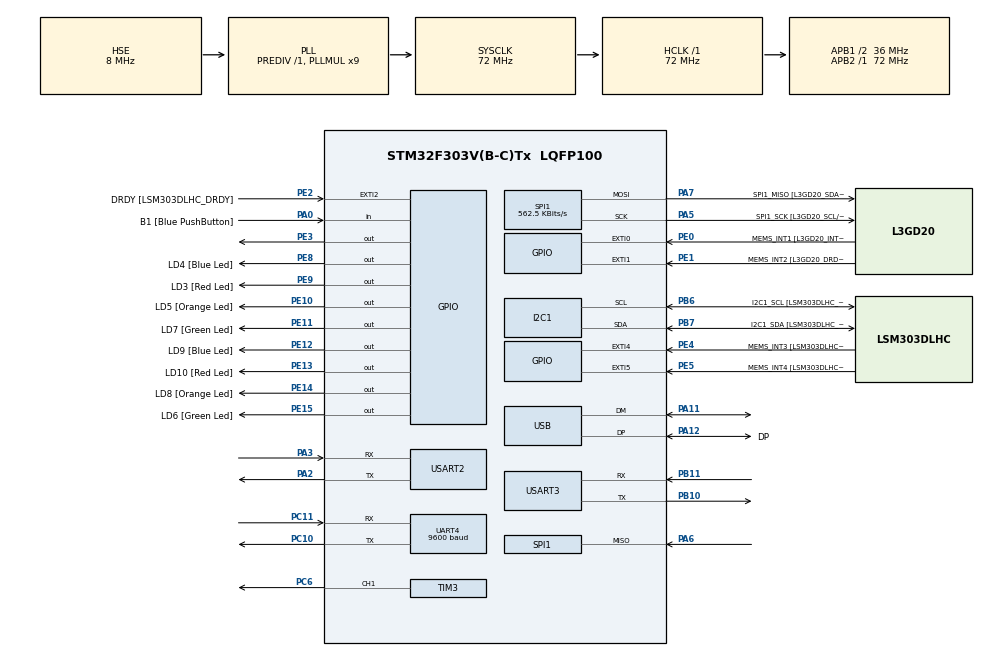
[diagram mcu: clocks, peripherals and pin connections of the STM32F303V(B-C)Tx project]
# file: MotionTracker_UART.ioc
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I2C1.Timing=0x00201D2B
I2C1.Timing-I2C=0x2000090E
Mcu.Family=STM32F3
Mcu.Name=STM32F303V(B-C)Tx
Mcu.Package=LQFP100
NVIC.PriorityGroup=NVIC_PRIORITYGROUP_0
NVIC.USART2_IRQn=true\:0\:0\:false\:false\:true\:true\:true\:true
NVIC.USB_LP_CAN_RX0_IRQn=true\:0\:0\:false\:false\:true\:true\:true\:true
PA0.GPIO_Label=B1 [Blue PushButton]
PA0.Signal=GPIO_Input
PA11.Mode=Device
PA11.Signal=USB_DM
PA12.GPIO_Label=DP
PA12.Mode=Device
PA12.Signal=USB_DP
PA13.GPIO_Label=SWDIO
PA13.Mode=Serial_Wire
PA13.Signal=SYS_JTMS-SWDIO
PA14.GPIO_Label=SWCLK
PA14.Mode=Serial_Wire
PA14.Signal=SYS_JTCK-SWCLK
PA2.Mode=Asynchronous
PA2.Signal=USART2_TX
PA3.Mode=Asynchronous
PA3.Signal=USART2_RX
PA5.GPIO_Label=SPI1_SCK [L3GD20_SCL/SPC]
PA5.Mode=Full_Duplex_Master
PA5.Signal=SPI1_SCK
PA6.Mode=Full_Duplex_Master
PA6.Signal=SPI1_MISO
PA7.GPIO_Label=SPI1_MISO [L3GD20_SDA/SDI/SDO]
PA7.Mode=Full_Duplex_Master
PA7.Signal=SPI1_MOSI
PB10.Mode=Asynchronous
PB10.Signal=USART3_TX
PB11.Mode=Asynchronous
PB11.Signal=USART3_RX
PB3.GPIO_Label=SWO
PB3.Signal=SYS_JTDO-TRACESWO
PB6.GPIO_Label=I2C1_SCL [LSM303DLHC_SCL]
PB6.GPIO_Pu=GPIO_PULLUP
PB6.Mode=I2C
PB6.Signal=I2C1_SCL
PB7.GPIO_Label=I2C1_SDA [LSM303DLHC_SDA]
PB7.GPIO_Pu=GPIO_PULLUP
PB7.Mode=I2C
PB7.Signal=I2C1_SDA
PC10.Mode=Asynchronous
PC10.Signal=UART4_TX
PC11.Mode=Asynchronous
PC11.Signal=UART4_RX
PC14-OSC32_IN.GPIO_Label=OSC32_IN
PC14-OSC32_IN.Signal=RCC_OSC32_IN
PC15-OSC32_OUT.GPIO_Label=OSC32_OUT
PC15-OSC32_OUT.Signal=RCC_OSC32_OUT
PC6.Signal=S_TIM3_CH1
PE0.GPIO_Label=MEMS_INT1 [L3GD20_INT1]
PE0.GPIO_ModeDefaultEXTI=GPIO_MODE_EVT_RISING
PE0.Signal=GPXTI0
PE1.GPIO_Label=MEMS_INT2 [L3GD20_DRDY/INT2]
PE1.GPIO_ModeDefaultEXTI=GPIO_MODE_EVT_RISING
PE1.Signal=GPXTI1
PE10.GPIO_Label=LD5 [Orange Led]
PE10.Signal=GPIO_Output
PE11.GPIO_Label=LD7 [Green Led]
PE11.Signal=GPIO_Output
PE12.GPIO_Label=LD9 [Blue Led]
PE12.Signal=GPIO_Output
PE13.GPIO_Label=LD10 [Red Led]
PE13.Signal=GPIO_Output
PE14.GPIO_Label=LD8 [Orange Led]
PE14.Signal=GPIO_Output
PE15.GPIO_Label=LD6 [Green Led]
PE15.Signal=GPIO_Output
PE2.GPIO_Label=DRDY [LSM303DLHC_DRDY]
PE2.GPIO_ModeDefaultEXTI=GPIO_MODE_EVT_RISING
PE2.Signal=GPXTI2
PE3.Signal=GPIO_Output
PE4.GPIO_Label=MEMS_INT3 [LSM303DLHC_INT1]
PE4.GPIO_ModeDefaultEXTI=GPIO_MODE_EVT_RISING
PE4.Signal=GPXTI4
PE5.GPIO_Label=MEMS_INT4 [LSM303DLHC_INT2]
PE5.GPIO_ModeDefaultEXTI=GPIO_MODE_EVT_RISING
PE5.Signal=GPXTI5
PE8.GPIO_Label=LD4 [Blue Led]
PE8.Signal=GPIO_Output
PE9.GPIO_Label=LD3 [Red Led]
PE9.Signal=GPIO_Output
PF0-OSC_IN.GPIO_Label=OSC_IN
PF0-OSC_IN.Mode=HSE-External-Clock-Source
PF0-OSC_IN.Signal=RCC_OSC_IN
PF1-OSC_OUT.GPIO_Label=OSC_OUT
PF1-OSC_OUT.Signal=RCC_OSC_OUT
ProjectManager.HeapSize=0x200
ProjectManager.StackSize=0x400
ProjectManager.TargetToolchain=STM32CubeIDE
RCC.AHBFreq_Value=72000000
RCC.APB1CLKDivider=RCC_HCLK_DIV2
RCC.APB1Freq_Value=36000000
RCC.APB1TimFreq_Value=72000000
RCC.APB2Freq_Value=72000000
RCC.APB2TimFreq_Value=72000000
RCC.CortexFreq_Value=72000000
RCC.HCLKFreq_Value=72000000
RCC.HSE_VALUE=8000000
RCC.HSI_VALUE=8000000
RCC.LSE_VALUE=32768
RCC.PLLMUL=RCC_PLL_MUL9
RCC.PRESCALERUSB=RCC_USBCLKSOURCE_PLL_DIV1_5
RCC.SYSCLKFreq_VALUE=72000000
RCC.SYSCLKSourceVirtual=RCC_SYSCLKSOURCE_PLLCLK
RCC.USBFreq_Value=48000000
SH.S_TIM3_CH1.0=TIM3_CH1,PWM Generation1 CH1
SPI1.BaudRatePrescaler=SPI_BAUDRATEPRESCALER_128
SPI1.CalculateBaudRate=562.5 KBits/s
SPI1.Direction=SPI_DIRECTION_2LINES
SPI1.Mode=SPI_MODE_MASTER
SPI1.VirtualType=VM_MASTER
TIM3.Channel-PWM\ Generation1\ CH1=TIM_CHANNEL_1
TIM3.Period=999
TIM3.Prescaler=71
UART4.BaudRate=9600
USART2.VirtualMode-Asynchronous=VM_ASYNC
USART3.VirtualMode-Asynchronous=VM_ASYNC
VP_TIM3_VS_ClockSourceINT.Mode=Internal
board=STM32F3DISCOVERY

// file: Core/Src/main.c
/* USER CODE BEGIN Header */
/**
  ******************************************************************************
  * @file           : main.c
  * @brief          : Gyroscope-Based Motor Control
  ******************************************************************************
  */
/* USER CODE END Header */
#include "main.h"

/* USER CODE BEGIN Includes */
#include "i2c.h"
#include "spi.h"
#include "tim.h"
#include "usart.h"
#include <stdio.h>
#include <string.h>
#include <math.h>
#include <stdlib.h>  // atoi() için
/* USER CODE END Includes */

extern I2C_HandleTypeDef hi2c1;
extern SPI_HandleTypeDef hspi1;
extern TIM_HandleTypeDef htim3;
extern UART_HandleTypeDef huart4;
extern UART_HandleTypeDef huart2;
extern UART_HandleTypeDef huart3;

PCD_HandleTypeDef hpcd_USB_FS;

void SystemClock_Config(void);
static void MX_GPIO_Init(void);
void MX_I2C1_Init(void);
static void MX_USB_PCD_Init(void);
void MX_USART2_UART_Init(void);
void MX_TIM3_Init(void);
void MX_SPI1_Init(void);
void MX_USART3_UART_Init(void);
void MX_UART4_Init(void);

/* USER CODE BEGIN 0 */

// ESP32 WiFi Functions

// Debug mesaj gönderme fonksiyonu
void SendDebugMessage(const char* msg)
{
    HAL_UART_Transmit(&huart2, (uint8_t*)msg, strlen(msg), HAL_MAX_DELAY);
}

/* USER CODE END 0 */

int main(void)
{

  /* MCU Configuration--------------------------------------------------------*/

  /* Reset of all peripherals, Initializes the Flash interface and the Systick. */
  HAL_Init();

  /* Configure the system clock */
  SystemClock_Config();

  /* Initialize all configured peripherals */
  MX_GPIO_Init();
  MX_I2C1_Init();
  MX_USB_PCD_Init();
  MX_USART2_UART_Init();
  MX_TIM3_Init();
  MX_SPI1_Init();
  MX_USART3_UART_Init();
  MX_UART4_Init();
  /* USER CODE BEGIN 2 */
  HAL_Delay(1000);

  // UART2 test (debug için)
  HAL_UART_Transmit(&huart2, (uint8_t*)"STM32 Started Successfully\r\n", 28, 1000);

  // ✅ TIM3 PWM BAŞLATMA - MOTOR İÇİN
  if (HAL_TIM_PWM_Start(&htim3, TIM_CHANNEL_1) != HAL_OK) {
    HAL_UART_Transmit(&huart2, (uint8_t*)"❌ TIM3 PWM Start FAILED!\r\n", 29, 1000);
  } else {
    HAL_UART_Transmit(&huart2, (uint8_t*)"✅ TIM3 PWM Started - Motor Ready\r\n", 37, 1000);
  }

  // UART4 test - ESP32'ye ilk sinyal gönder
  HAL_UART_Transmit(&huart4, (uint8_t*)"A", 1, 1000);
  HAL_Delay(100);
  HAL_UART_Transmit(&huart4, (uint8_t*)"B", 1, 1000);
  HAL_Delay(100);
  HAL_UART_Transmit(&huart4, (uint8_t*)"C", 1, 1000);
  HAL_Delay(100);

  HAL_UART_Transmit(&huart2, (uint8_t*)"UART4 Test Signals Sent (A,B,C)\r\n", 34, 1000);
  HAL_UART_Transmit(&huart2, (uint8_t*)"System Ready - UART4 @ 9600 baud!\r\n", 36, 1000);
  /* USER CODE END 2 */

  /* Infinite loop */
  while (1)
  {

    /* USER CODE BEGIN 3 */

    // DASHBOARD İÇİN GYROSCOPE SİMÜLASYONU
    static uint32_t counter = 0;
    static char delayed_status_check[100] = {0};  // STATUS komutunu geciktirmek için
    counter++;

    // LED'leri yanıp söndür (çalıştığını görmek için)
    if(counter % 5 == 0) {
        HAL_GPIO_TogglePin(LD4_GPIO_Port, LD4_Pin);  // Mavi LED (daha yavaş)
    }

    // Simüle edilmiş gyroscope verileri
    float gyro_x = 10.0f * sin(counter * 0.1f);     // -10 ile +10 arası sinüs
    float gyro_y = 5.0f * cos(counter * 0.15f);     // -5 ile +5 arası kosinus
    float gyro_z = 8.0f * sin(counter * 0.08f);     // -8 ile +8 arası sinüs

    // Motor hızını hesapla (otomatik mode için)
    float gyro_magnitude = sqrt(gyro_x*gyro_x + gyro_y*gyro_y + gyro_z*gyro_z);
    uint8_t auto_motor_speed = (uint8_t)(gyro_magnitude > 100.0f ? 100 : gyro_magnitude);

    // ESP32'ye JSON format gönder (ESP32 beklediği format)
    char json_data[200];

    // ESP32'den motor kontrol komutlarını dinle
    static char uart_rx_buffer[100];
    static uint8_t rx_index = 0;
    static uint8_t manual_motor_speed = 0;  // Manuel ayarlanan motor hızı
    static uint8_t use_manual_speed = 0;    // Manuel kontrol aktif mi?
    static uint8_t force_stop = 0;          // Zorla durdur (STOP butonu)

    if(__HAL_UART_GET_FLAG(&huart4, UART_FLAG_RXNE)) {
        uint8_t received_char;
        HAL_UART_Receive(&huart4, &received_char, 1, 1);

        if(received_char == '\n' || received_char == '\r') {
            uart_rx_buffer[rx_index] = '\0';

            // ESP32'den gelen komutları debug et
            if(strlen(uart_rx_buffer) > 0) {
                char debug_rx[120];
                sprintf(debug_rx, "RX from ESP32: '%s'\r\n", uart_rx_buffer);
                HAL_UART_Transmit(&huart2, (uint8_t*)debug_rx, strlen(debug_rx), 1000);
            }

            // "MOTOR_SET:75" formatındaki komutları parse et
            if(strncmp(uart_rx_buffer, "MOTOR_SET:", 10) == 0) {
                manual_motor_speed = atoi(&uart_rx_buffer[10]);
                if(manual_motor_speed > 100) manual_motor_speed = 100;  // Clamp

                // ✅ ÖZEL DURUM: STOP (0%) → ZORLA DURDUR
                if(manual_motor_speed == 0) {
                    use_manual_speed = 0;  // Manual mode KAPALI
                    force_stop = 1;        // Zorla durma aktif
                    HAL_GPIO_WritePin(LD3_GPIO_Port, LD3_Pin, GPIO_PIN_RESET);  // LED söndür
                    HAL_UART_Transmit(&huart2, (uint8_t*)"🛑 MOTOR STOPPED - FORCE STOP ACTIVE\r\n", 41, 1000);
                } else {
                    use_manual_speed = 1;  // Manuel mode aktif
                    force_stop = 0;        // Zorla durma kapalı
                    HAL_GPIO_WritePin(LD3_GPIO_Port, LD3_Pin, GPIO_PIN_SET);  // LED aç
                }

                // ✅ MOTOR PWM KONTROLÜ AKTİF
                uint32_t pulse = (manual_motor_speed * 999) / 100;  // TIM3 period = 999
                __HAL_TIM_SET_COMPARE(&htim3, TIM_CHANNEL_1, pulse);

                char ack_msg[100];
                sprintf(ack_msg, "✅ MOTOR: %d%% PWM=%lu (%s)\r\n",
                       manual_motor_speed, pulse,
                       (manual_motor_speed == 0) ? "FORCE STOP" : "MANUAL MODE");
                HAL_UART_Transmit(&huart2, (uint8_t*)ack_msg, strlen(ack_msg), 1000);

                // ESP32'ye ACK gönder
                sprintf(ack_msg, "ACK:MOTOR_SET:%d\n", manual_motor_speed);
                HAL_UART_Transmit(&huart4, (uint8_t*)ack_msg, strlen(ack_msg), 500);
            }
            else if(strcmp(uart_rx_buffer, "AUTO") == 0) {
                use_manual_speed = 0;
                force_stop = 0;  // Zorla durma iptal et
                HAL_UART_Transmit(&huart2, (uint8_t*)"✅ SWITCHED TO AUTO MODE (GYRO CONTROL)\r\n", 42, 1000);
                // LED'i söndür - otomatik mode
                HAL_GPIO_WritePin(LD3_GPIO_Port, LD3_Pin, GPIO_PIN_RESET);  // Kırmızı LED söndür
            }
            else if(strncmp(uart_rx_buffer, "ESP32_", 6) == 0) {
                // ESP32 test mesajlarını echo et
                char echo_msg[100];
                sprintf(echo_msg, "ECHO:%s\n", uart_rx_buffer);
                HAL_UART_Transmit(&huart4, (uint8_t*)echo_msg, strlen(echo_msg), 500);
            }
            else if(strcmp(uart_rx_buffer, "STATUS") == 0) {
                strcpy(delayed_status_check, "STATUS");  // Sonra işle
            }

            rx_index = 0;
        }
        else if(rx_index < sizeof(uart_rx_buffer) - 1) {
            uart_rx_buffer[rx_index++] = received_char;
        }
    }

    // Motor hızını belirle (manuel, otomatik veya zorla durma)
    uint8_t final_motor_speed;
    if(force_stop) {
        final_motor_speed = 0;  // Zorla durdur
    } else if(use_manual_speed) {
        final_motor_speed = manual_motor_speed;  // Manuel kontrol
    } else {
        final_motor_speed = auto_motor_speed;    // Otomatik kontrol
    }

    // ✅ PWM'i sürekli güncelle (hem auto hem manual için)
    uint32_t final_pulse = (final_motor_speed * 999) / 100;
    __HAL_TIM_SET_COMPARE(&htim3, TIM_CHANNEL_1, final_pulse);

    // STATUS komutunu burada işle (değişkenler hazır olduktan sonra)
    if(strlen(delayed_status_check) > 0 && strcmp(delayed_status_check, "STATUS") == 0) {
        char status_msg[120];
        sprintf(status_msg, "STATUS:Manual=%d,ForceStop=%d,ManualSpeed=%d,AutoSpeed=%d,FinalSpeed=%d\n",
               use_manual_speed, force_stop, manual_motor_speed, auto_motor_speed, final_motor_speed);
        HAL_UART_Transmit(&huart4, (uint8_t*)status_msg, strlen(status_msg), 500);
        delayed_status_check[0] = '\0';  // Clear
    }

    // BASİT STRING TEST (JSON karmaşık, önce basit test)
    sprintf(json_data, "MOTOR:%d,X:%.1f,Y:%.1f,Z:%.1f\n",
            final_motor_speed, gyro_x, gyro_y, gyro_z);
    HAL_UART_Transmit(&huart4, (uint8_t*)json_data, strlen(json_data), 500);

    // Debug mesajı UART2'ye (daha az frequent)
    if(counter % 20 == 0) {  // Her 2 saniyede bir
        char debug_msg[200];
        sprintf(debug_msg, "📊 FINAL:%d%% [%s] AUTO:%d MANUAL:%d STOP:%d | GYRO: X=%.1f Y=%.1f Z=%.1f\r\n",
                final_motor_speed,
                force_stop ? "FORCE_STOP" : (use_manual_speed ? "MANUAL" : "AUTO"),
                auto_motor_speed, manual_motor_speed, force_stop, gyro_x, gyro_y, gyro_z);
        HAL_UART_Transmit(&huart2, (uint8_t*)debug_msg, strlen(debug_msg), 1000);
    }

    HAL_Delay(1000);  // 1 saniyede bir

  }
  /* USER CODE END 3 */
}

void SystemClock_Config(void)
{
  RCC_OscInitTypeDef RCC_OscInitStruct = {0};
  RCC_ClkInitTypeDef RCC_ClkInitStruct = {0};
  RCC_PeriphCLKInitTypeDef PeriphClkInit = {0};

  /** Initializes the RCC Oscillators according to the specified parameters
  * in the RCC_OscInitTypeDef structure.
  */
  RCC_OscInitStruct.OscillatorType = RCC_OSCILLATORTYPE_HSI|RCC_OSCILLATORTYPE_HSE;
  RCC_OscInitStruct.HSEState = RCC_HSE_BYPASS;
  RCC_OscInitStruct.HSEPredivValue = RCC_HSE_PREDIV_DIV1;
  RCC_OscInitStruct.HSIState = RCC_HSI_ON;
  RCC_OscInitStruct.HSICalibrationValue = RCC_HSICALIBRATION_DEFAULT;
  RCC_OscInitStruct.PLL.PLLState = RCC_PLL_ON;
  RCC_OscInitStruct.PLL.PLLSource = RCC_PLLSOURCE_HSE;
  RCC_OscInitStruct.PLL.PLLMUL = RCC_PLL_MUL9;
  if (HAL_RCC_OscConfig(&RCC_OscInitStruct) != HAL_OK)
  {
    Error_Handler();
  }

  /** Initializes the CPU, AHB and APB buses clocks
  */
  RCC_ClkInitStruct.ClockType = RCC_CLOCKTYPE_HCLK|RCC_CLOCKTYPE_SYSCLK
                              |RCC_CLOCKTYPE_PCLK1|RCC_CLOCKTYPE_PCLK2;
  RCC_ClkInitStruct.SYSCLKSource = RCC_SYSCLKSOURCE_PLLCLK;
  RCC_ClkInitStruct.AHBCLKDivider = RCC_SYSCLK_DIV1;
  RCC_ClkInitStruct.APB1CLKDivider = RCC_HCLK_DIV2;
  RCC_ClkInitStruct.APB2CLKDivider = RCC_HCLK_DIV1;

  if (HAL_RCC_ClockConfig(&RCC_ClkInitStruct, FLASH_LATENCY_2) != HAL_OK)
  {
    Error_Handler();
  }
  PeriphClkInit.PeriphClockSelection = RCC_PERIPHCLK_USB|RCC_PERIPHCLK_USART2
                              |RCC_PERIPHCLK_USART3|RCC_PERIPHCLK_UART4
                              |RCC_PERIPHCLK_I2C1;
  PeriphClkInit.Usart2ClockSelection = RCC_USART2CLKSOURCE_PCLK1;
  PeriphClkInit.Usart3ClockSelection = RCC_USART3CLKSOURCE_PCLK1;
  PeriphClkInit.Uart4ClockSelection = RCC_UART4CLKSOURCE_PCLK1;
  PeriphClkInit.I2c1ClockSelection = RCC_I2C1CLKSOURCE_HSI;
  PeriphClkInit.USBClockSelection = RCC_USBCLKSOURCE_PLL_DIV1_5;
  if (HAL_RCCEx_PeriphCLKConfig(&PeriphClkInit) != HAL_OK)
  {
    Error_Handler();
  }
}

static void MX_USB_PCD_Init(void)
{

  hpcd_USB_FS.Instance = USB;
  hpcd_USB_FS.Init.dev_endpoints = 8;
  hpcd_USB_FS.Init.speed = PCD_SPEED_FULL;
  hpcd_USB_FS.Init.phy_itface = PCD_PHY_EMBEDDED;
  hpcd_USB_FS.Init.low_power_enable = DISABLE;
  hpcd_USB_FS.Init.battery_charging_enable = DISABLE;
  if (HAL_PCD_Init(&hpcd_USB_FS) != HAL_OK)
  {
    Error_Handler();
  }

}

static void MX_GPIO_Init(void)
{
  GPIO_InitTypeDef GPIO_InitStruct = {0};

  /* GPIO Ports Clock Enable */
  __HAL_RCC_GPIOE_CLK_ENABLE();
  __HAL_RCC_GPIOC_CLK_ENABLE();
  __HAL_RCC_GPIOF_CLK_ENABLE();
  __HAL_RCC_GPIOA_CLK_ENABLE();
  __HAL_RCC_GPIOB_CLK_ENABLE();

  /*Configure GPIO pin Output Level */
  HAL_GPIO_WritePin(GPIOE, GPIO_PIN_3|LD4_Pin|LD3_Pin|LD5_Pin
                          |LD7_Pin|LD9_Pin|LD10_Pin|LD8_Pin
                          |LD6_Pin, GPIO_PIN_RESET);

  /*Configure GPIO pins : DRDY_Pin MEMS_INT3_Pin MEMS_INT4_Pin MEMS_INT1_Pin
                           MEMS_INT2_Pin */
  GPIO_InitStruct.Pin = DRDY_Pin|MEMS_INT3_Pin|MEMS_INT4_Pin|MEMS_INT1_Pin
                          |MEMS_INT2_Pin;
  GPIO_InitStruct.Mode = GPIO_MODE_EVT_RISING;
  GPIO_InitStruct.Pull = GPIO_NOPULL;
  HAL_GPIO_Init(GPIOE, &GPIO_InitStruct);

  /*Configure GPIO pins : PE3 LD4_Pin LD3_Pin LD5_Pin
                           LD7_Pin LD9_Pin LD10_Pin LD8_Pin
                           LD6_Pin */
  GPIO_InitStruct.Pin = GPIO_PIN_3|LD4_Pin|LD3_Pin|LD5_Pin
                          |LD7_Pin|LD9_Pin|LD10_Pin|LD8_Pin
                          |LD6_Pin;
  GPIO_InitStruct.Mode = GPIO_MODE_OUTPUT_PP;
  GPIO_InitStruct.Pull = GPIO_NOPULL;
  GPIO_InitStruct.Speed = GPIO_SPEED_FREQ_LOW;
  HAL_GPIO_Init(GPIOE, &GPIO_InitStruct);

  /*Configure GPIO pin : B1_Pin */
  GPIO_InitStruct.Pin = B1_Pin;
  GPIO_InitStruct.Mode = GPIO_MODE_INPUT;
  GPIO_InitStruct.Pull = GPIO_NOPULL;
  HAL_GPIO_Init(B1_GPIO_Port, &GPIO_InitStruct);

}

/* USER CODE BEGIN 4 */

void ESP32_Init(void)
{
    HAL_Delay(500);  // Daha kısa boot bekleme

    // UART4 Test - Tek karakter gönder (PC10/PC11)
    HAL_UART_Transmit(&huart2, (uint8_t*)"Testing UART4 PC10/PC11 chars...\r\n", 35, 1000);

    for(int i = 0; i < 3; i++) {  // Daha az test
        HAL_UART_Transmit(&huart4, (uint8_t*)"A", 1, 100);
        HAL_Delay(50);
        HAL_UART_Transmit(&huart4, (uint8_t*)"B", 1, 100);
        HAL_Delay(50);
        HAL_UART_Transmit(&huart4, (uint8_t*)"C", 1, 100);
        HAL_Delay(100);
    }

    // Basit string test
    HAL_UART_Transmit(&huart4, (uint8_t*)"HELLO\n", 6, 100);
    HAL_Delay(50);
    HAL_UART_Transmit(&huart4, (uint8_t*)"WORLD\n", 6, 100);

    HAL_UART_Transmit(&huart4, (uint8_t*)"ESP32 UART4 Module Initialized!\r\n", 34, 1000);
}

/* USER CODE END 4 */

void Error_Handler(void)
{
  __disable_irq();
  while (1)
  {
  }
}
